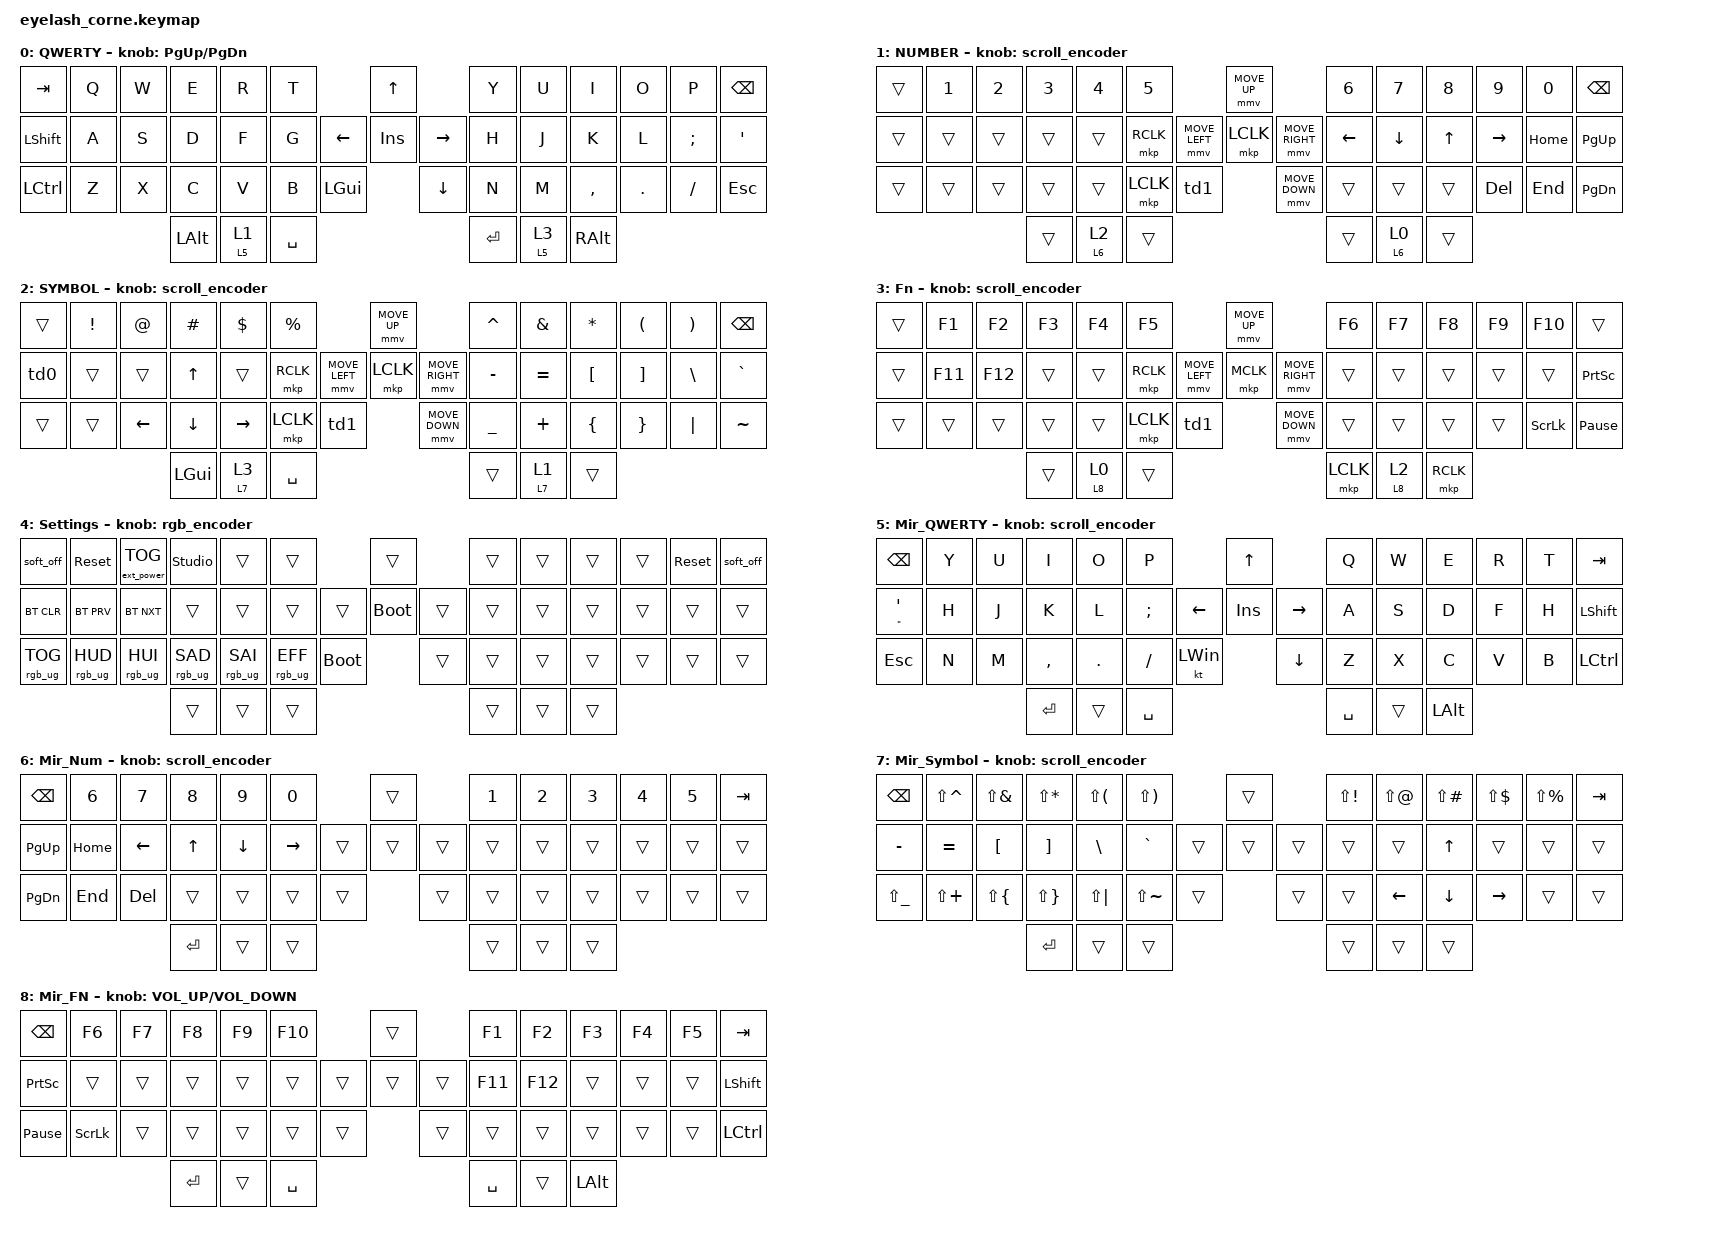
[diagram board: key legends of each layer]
#define ZMK_POINTING_DEFAULT_MOVE_VAL 1200  // 600
#define ZMK_POINTING_DEFAULT_SCRL_VAL 25   // 10

#include <input/processors.dtsi>
#include <zephyr/dt-bindings/input/input-event-codes.h>
#include <behaviors.dtsi>
#include <dt-bindings/zmk/bt.h>
#include <dt-bindings/zmk/ext_power.h>
#include <dt-bindings/zmk/keys.h>
#include <dt-bindings/zmk/pointing.h>
#include <dt-bindings/zmk/rgb.h>

&mmv_input_listener { input-processors = <&zip_xy_scaler 2 1>; };

&msc_input_listener { input-processors = <&zip_scroll_scaler 2 1>; };

&msc {
    acceleration-exponent = <1>;      // 0
    time-to-max-speed-ms = <100>;       // 300
    delay-ms = <0>;                   // 0
};

&mmv {
    time-to-max-speed-ms = <500>;
    acceleration-exponent = <1>;
    trigger-period-ms = <16>;
};

&soft_off { hold-time-ms = <2000>; };

/ {
    behaviors {
        td0: td0 {
            compatible = "zmk,behavior-tap-dance";
            display-name = "Shift/Caps Lock Tap Dance";
            #binding-cells = <0>;
            bindings = <&kp LEFT_SHIFT>, <&kp CAPS>;
        };

        td1: td1 {
            compatible = "zmk,behavior-tap-dance";
            display-name = "Shift/Caps Lock Tap Dance";
            #binding-cells = <0>;
            bindings = <&mkp MCLK>, <&mkp RCLK>;

            label = "TD1";
        };

        mirror1: mirror1 {
            compatible = "zmk,behavior-hold-tap";
            label = "MIRROR1";
            bindings = <&mo>, <&to>;

            #binding-cells = <2>;
            flavor = "tap-preferred";
            tapping-term-ms = <200>;
        };
    };

    rgb_encoder: rgb_encoder {
        compatible = "zmk,behavior-sensor-rotate";
        #sensor-binding-cells = <0>;
        bindings = <&rgb_ug RGB_BRI>, <&rgb_ug RGB_BRD>;
    };

    scroll_encoder: scroll_encoder {
        compatible = "zmk,behavior-sensor-rotate";
        #sensor-binding-cells = <0>;
        bindings = <&msc SCRL_DOWN>, <&msc SCRL_UP>;

        tap-ms = <100>;
    };

    combos {
        compatible = "zmk,combos";

        Settings {
            bindings = <&to 4>;
            key-positions = <43 46>;
        };
    };

    keymap {
        compatible = "zmk,keymap";

        default_layer {
            display-name = "QWERTY";
            bindings = <
&kp TAB    &kp Q  &kp W  &kp E     &kp R         &kp T                            &kp UP               &kp Y      &kp U         &kp I      &kp O    &kp P     &kp BSPC
&kp LSHFT  &kp A  &kp S  &kp D     &kp F         &kp G                  &kp LEFT  &kp INS   &kp RIGHT  &kp H      &kp J         &kp K      &kp L    &kp SEMI  &kp SQT
&kp LCTRL  &kp Z  &kp X  &kp C     &kp V         &kp B      &kp LGUI              &kp DOWN             &kp N      &kp M         &kp COMMA  &kp DOT  &kp FSLH  &kp ESC
                         &kp LALT  &mirror1 5 1  &kp SPACE                                             &kp ENTER  &mirror1 5 3  &kp RALT
            >;

            sensor-bindings = <&inc_dec_kp PAGE_UP PAGE_DOWN>;
        };

        lower_layer {
            display-name = "NUMBER";
            bindings = <
&trans  &kp N1  &kp N2  &kp N3  &kp N4        &kp N5                             &mmv MOVE_UP                     &kp N6    &kp N7        &kp N8  &kp N9     &kp N0    &kp BSPC
&trans  &trans  &trans  &trans  &trans        &mkp RCLK          &mmv MOVE_LEFT  &mkp LCLK       &mmv MOVE_RIGHT  &kp LEFT  &kp DOWN      &kp UP  &kp RIGHT  &kp HOME  &kp PG_UP
&trans  &trans  &trans  &trans  &trans        &mkp LCLK  &td1                    &mmv MOVE_DOWN                   &trans    &trans        &trans  &kp DEL    &kp END   &kp PG_DN
                        &trans  &mirror1 6 2  &trans                                                              &trans    &mirror1 6 0  &trans
            >;

            sensor-bindings = <&scroll_encoder>;
        };

        raise_layer {
            display-name = "SYMBOL";
            bindings = <
&trans  &kp EXCL  &kp AT    &kp HASH  &kp DLLR      &kp PRCNT                          &mmv MOVE_UP                     &kp CARET  &kp AMPS      &kp ASTRK  &kp LPAR  &kp RPAR  &kp BSPC
&td0    &trans    &trans    &kp UP    &trans        &mkp RCLK          &mmv MOVE_LEFT  &mkp LCLK       &mmv MOVE_RIGHT  &kp MINUS  &kp EQUAL     &kp LBKT   &kp RBKT  &kp BSLH  &kp GRAVE
&trans  &trans    &kp LEFT  &kp DOWN  &kp RIGHT     &mkp LCLK  &td1                    &mmv MOVE_DOWN                   &kp UNDER  &kp PLUS      &kp LBRC   &kp RBRC  &kp PIPE  &kp TILDE
                            &kp LGUI  &mirror1 7 3  &kp SPACE                                                           &trans     &mirror1 7 1  &trans
            >;

            sensor-bindings = <&scroll_encoder>;
        };

        layer_3 {
            display-name = "Fn";
            bindings = <
&trans  &kp F1   &kp F2   &kp F3  &kp F4        &kp F5                             &mmv MOVE_UP                     &kp F6     &kp F7        &kp F8     &kp F9  &kp F10         &trans
&trans  &kp F11  &kp F12  &trans  &trans        &mkp RCLK          &mmv MOVE_LEFT  &mkp MCLK       &mmv MOVE_RIGHT  &trans     &trans        &trans     &trans  &trans          &kp PSCRN
&trans  &trans   &trans   &trans  &trans        &mkp LCLK  &td1                    &mmv MOVE_DOWN                   &trans     &trans        &trans     &trans  &kp SCROLLLOCK  &kp PAUSE_BREAK
                          &trans  &mirror1 8 0  &trans                                                              &mkp LCLK  &mirror1 8 2  &mkp RCLK
            >;

            sensor-bindings = <&scroll_encoder>;
        };

        layer_4 {
            bindings = <
&soft_off        &sys_reset       &ext_power EP_TOG  &studio_unlock   &trans           &trans                                  &trans               &trans  &trans  &trans  &trans  &sys_reset  &soft_off
&bt BT_CLR       &bt BT_PRV       &bt BT_NXT         &trans           &trans           &trans                          &trans  &bootloader  &trans  &trans  &trans  &trans  &trans  &trans      &trans
&rgb_ug RGB_TOG  &rgb_ug RGB_HUD  &rgb_ug RGB_HUI    &rgb_ug RGB_SAD  &rgb_ug RGB_SAI  &rgb_ug RGB_EFF  &bootloader            &trans               &trans  &trans  &trans  &trans  &trans      &trans
                                                     &trans           &trans           &trans                                                       &trans  &trans  &trans
            >;

            label = "Settings";
            sensor-bindings = <&rgb_encoder>;
        };

        layer_5 {
            bindings = <
&kp BSPC                      &kp Y  &kp U  &kp I      &kp O    &kp P                                &kp UP               &kp Q      &kp W   &kp E     &kp R  &kp T  &kp TAB
&mt DOUBLE_QUOTES APOSTROPHE  &kp H  &kp J  &kp K      &kp L    &kp SEMI                   &kp LEFT  &kp INS   &kp RIGHT  &kp A      &kp S   &kp D     &kp F  &kp H  &kp LSHFT
&kp ESC                       &kp N  &kp M  &kp COMMA  &kp DOT  &kp FSLH   &kt LEFT_WIN              &kp DOWN             &kp Z      &kp X   &kp C     &kp V  &kp B  &kp LCTRL
                                            &kp ENTER  &trans   &kp SPACE                                                 &kp SPACE  &trans  &kp LALT
            >;

            label = "Mir_QWERTY";
            sensor-bindings = <&scroll_encoder>;
        };

        layer_6 {
            bindings = <
&kp BSPC       &kp N6    &kp N7    &kp N8     &kp N9    &kp N0                       &trans          &kp N1  &kp N2  &kp N3  &kp N4  &kp N5  &kp TAB
&kp PAGE_UP    &kp HOME  &kp LEFT  &kp UP     &kp DOWN  &kp RIGHT            &trans  &trans  &trans  &trans  &trans  &trans  &trans  &trans  &trans
&kp PAGE_DOWN  &kp END   &kp DEL   &trans     &trans    &trans     &trans            &trans          &trans  &trans  &trans  &trans  &trans  &trans
                                   &kp ENTER  &trans    &trans                                       &trans  &trans  &trans
            >;

            label = "Mir_Num";
            sensor-bindings = <&scroll_encoder>;
        };

        layer_7 {
            bindings = <
&kp BSPC       &kp LS(CARET)  &kp LS(AMPS)  &kp LS(STAR)  &kp LS(LPAR)  &kp LS(RPAR)                     &trans          &kp LS(EXCL)  &kp LS(AT)  &kp LS(POUND)  &kp LS(DLLR)  &kp LS(PRCNT)  &kp TAB
&kp MINUS      &kp EQUAL      &kp LBKT      &kp RBKT      &kp BSLH      &kp GRAVE                &trans  &trans  &trans  &trans        &trans      &kp UP         &trans        &trans         &trans
&kp LS(UNDER)  &kp LS(PLUS)   &kp LS(LBRC)  &kp LS(RBRC)  &kp LS(PIPE)  &kp LS(TILDE)  &trans            &trans          &trans        &kp LEFT    &kp DOWN       &kp RIGHT     &trans         &trans
                                            &kp ENTER     &trans        &trans                                           &trans        &trans      &trans
            >;

            label = "Mir_Symbol";
            sensor-bindings = <&scroll_encoder>;
        };

        layer_8 {
            bindings = <
&kp BSPC         &kp F6          &kp F7  &kp F8     &kp F9  &kp F10                      &trans          &kp F1     &kp F2   &kp F3    &kp F4  &kp F5  &kp TAB
&kp PSCRN        &trans          &trans  &trans     &trans  &trans               &trans  &trans  &trans  &kp F11    &kp F12  &trans    &trans  &trans  &kp LSHFT
&kp PAUSE_BREAK  &kp SCROLLLOCK  &trans  &trans     &trans  &trans     &trans            &trans          &trans     &trans   &trans    &trans  &trans  &kp LCTRL
                                         &kp ENTER  &trans  &kp SPACE                                    &kp SPACE  &trans   &kp LALT
            >;

            label = "Mir_FN";
            sensor-bindings = <&inc_dec_kp C_VOLUME_UP C_VOLUME_DOWN>;
        };
    };
};
